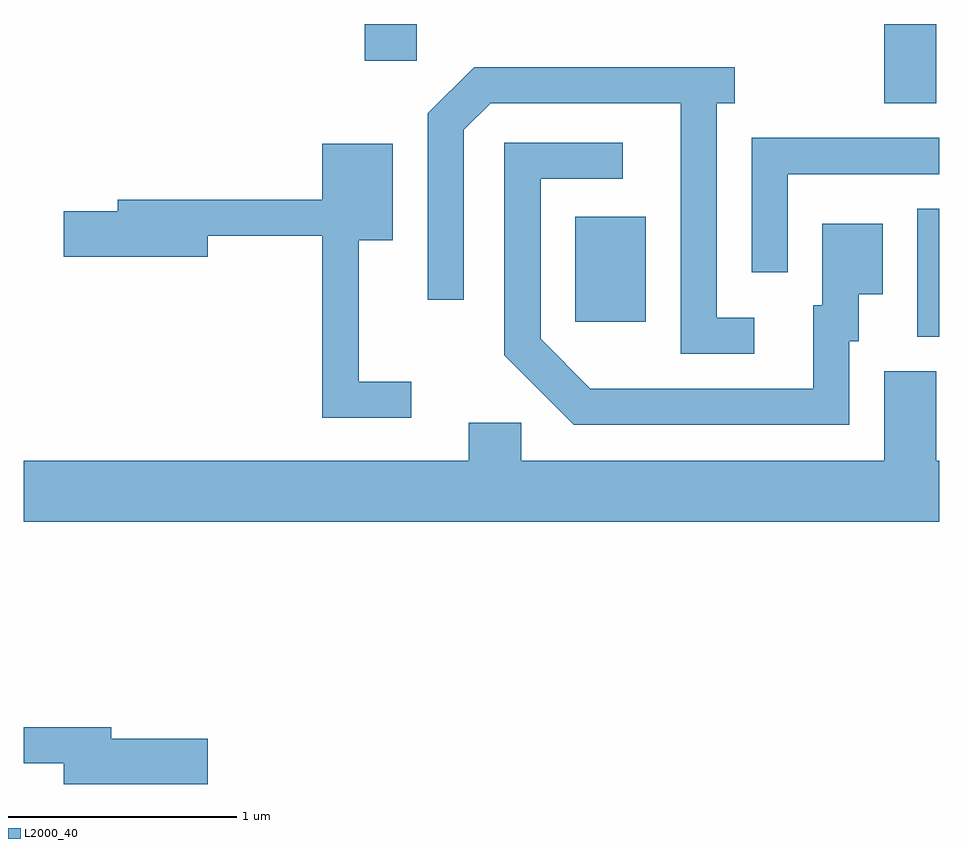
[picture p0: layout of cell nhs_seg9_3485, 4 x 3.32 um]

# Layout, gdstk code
import gdstk
lib = gdstk.Library(unit=1e-6, precision=1e-09)
def R(c, l, rs):  # rectangles x0, y0, x1, y1
    for r in rs: c.add(gdstk.rectangle(r[:2], r[2:], *l))
def P(c, l, *ps):  # polygons
    for p in ps: c.add(gdstk.Polygon(p, *l))
L2000_40 = (2000, 40)

nhs_seg9_3485 = lib.new_cell('nhs_seg9_3485')
R(nhs_seg9_3485, L2000_40, [(291.516,1997.066,291.611,1997.624), (290.021,1997.131,290.329,1997.589), (291.371,1998.086,291.599,1998.432), (289.101,1998.271,289.329,1998.432)])
P(nhs_seg9_3485, L2000_40, [(290.803,1997.149),(290.639,1997.149),(290.639,1998.086),(290.718,1998.086),(290.718,1998.244),(289.579,1998.244),(289.376,1998.042),(289.376,1997.228),(289.534,1997.228),(289.534,1997.969),(289.652,1998.086),(290.481,1998.086),(290.481,1996.991),(290.803,1996.991)],
  [(290.949,1997.776),(291.611,1997.776),(291.611,1997.934),(290.791,1997.934),(290.791,1997.348),(290.949,1997.348)],
  [(291.219,1997.046),(291.259,1997.046),(291.259,1997.251),(291.364,1997.251),(291.364,1997.559),(291.101,1997.559),(291.101,1997.204),(291.061,1997.204),(291.061,1996.839),(290.087,1996.839),(289.869,1997.057),(289.869,1997.756),(290.228,1997.756),(290.228,1997.914),(289.711,1997.914),(289.711,1996.984),(290.014,1996.681),(291.219,1996.681)],
  [(289.303,1996.869),(289.074,1996.869),(289.074,1997.486),(289.224,1997.486),(289.224,1997.909),(288.916,1997.909),(288.916,1997.664),(288.021,1997.664),(288.021,1997.614),(287.786,1997.614),(287.786,1997.416),(288.414,1997.416),(288.414,1997.506),(288.916,1997.506),(288.916,1996.711),(289.303,1996.711)],
  [(291.611,1996.524),(291.599,1996.524),(291.599,1996.914),(291.371,1996.914),(291.371,1996.524),(289.784,1996.524),(289.784,1996.689),(289.556,1996.689),(289.556,1996.524),(287.611,1996.524),(287.611,1996.256),(291.611,1996.256)],
  [(288.414,1995.309),(287.994,1995.309),(287.994,1995.359),(287.611,1995.359),(287.611,1995.201),(287.786,1995.201),(287.786,1995.111),(288.414,1995.111)])

lib.write_gds('nhs_seg9_3485.gds')
